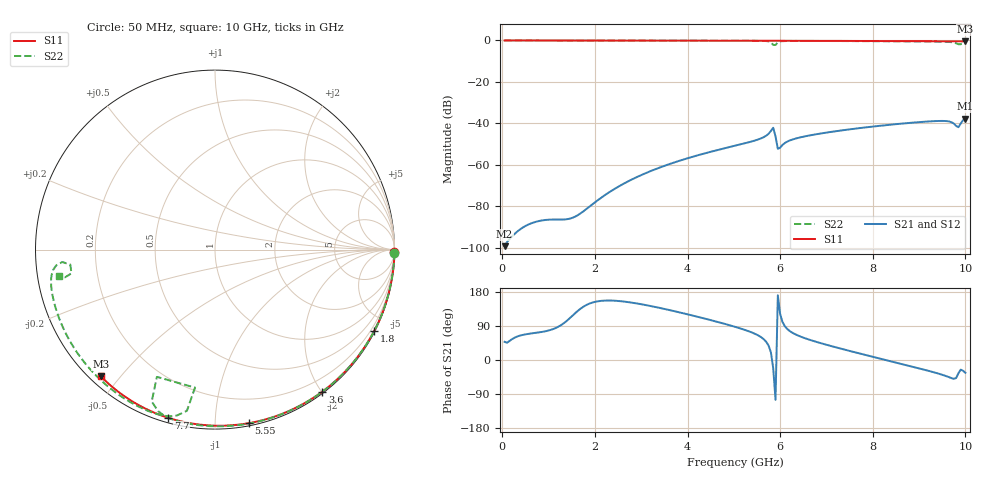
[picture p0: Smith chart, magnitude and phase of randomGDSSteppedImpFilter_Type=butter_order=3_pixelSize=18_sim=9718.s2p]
! freq	dB(S11)	phase(S11)	dB(S12)	phase(S12)
!  dB(S21)	phase(S21)	dB(S22)	phase(S22)
!S-par simulation data
#  GHz  S  DB  R 50
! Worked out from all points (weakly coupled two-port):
!   200 points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, 50 MHz to 10 GHz, reference 50 ohm
!   highest |S21| = -37.71 dB at 10 GHz (marker M1); lowest = -99.2 dB at 50 MHz (marker M2)
!   lowest |S11| = -0.4 dB at 10 GHz (marker M3), VSWR 39.13, Z = 1.53 - j22.2 ohm
!   |S11| at or under -10 dB: nowhere
!   |S22| runs from -2.2 to 0.0 dB; largest |S21 - S12| = 0
!   S11 on the Smith chart (normalised r, x): 50 MHz: open; 1.8 GHz: 0.04, -4.16; 3.6 GHz: 0.02, -2.01; 5.55 GHz: 0.02, -1.21; 7.7 GHz: 0.02, -0.76; 10 GHz: 0.03, -0.44
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0.05  -0.00 -0.8  -99.18 48.0  -99.18 48.0  -0.00 -1.0
1.75  -0.03 -26.3  -82.41 140.5  -82.41 140.5  -0.04 -33.8
1.8  -0.03 -27.1  -81.56 144.1  -81.56 144.1  -0.04 -34.8
1.9  -0.04 -28.5  -79.80 149.7  -79.80 149.7  -0.05 -36.7
2.7  -0.05 -40.2  -68.12 153.1  -68.12 153.1  -0.07 -51.6
3.4  -0.07 -50.1  -61.27 137.4  -61.27 137.4  -0.08 -64.3
3.6  -0.07 -52.9  -59.67 132.1  -59.67 132.1  -0.09 -67.8
5.05  -0.11 -72.5  -50.62 86.7  -50.62 86.7  -0.15 -93.3
5.55  -0.13 -79.0  -47.54 63.2  -47.54 63.2  -0.20 -103.0
5.75  -0.14 -81.6  -44.98 38.0  -44.98 38.0  -0.41 -109.4
5.8  -0.14 -82.2  -43.62 20.4  -43.62 20.4  -0.75 -112.6
5.85  -0.14 -82.9  -42.08 -21.1  -42.08 -21.1  -2.16 -114.5
5.9  -0.15 -83.5  -46.23 -105.2  -46.23 -105.2  -2.19 -98.2
5.95  -0.15 -84.1  -52.27 170.7  -52.27 170.7  -0.80 -99.9
6.2  -0.16 -87.3  -48.29 77.0  -48.29 77.0  -0.25 -109.3
6.7  -0.18 -93.5  -45.53 50.9  -45.53 50.9  -0.25 -118.7
7.7  -0.24 -105.5  -42.30 17.7  -42.30 17.7  -0.32 -135.5
8.35  -0.29 -113.2  -40.68 -2.2  -40.68 -2.2  -0.39 -146.4
9.55  -0.40 -127.0  -38.82 -41.0  -38.82 -41.0  -0.62 -168.7
9.7  -0.41 -128.7  -39.41 -47.9  -39.41 -47.9  -0.83 -172.8
9.85  -0.43 -130.4  -41.83 -34.8  -41.83 -34.8  -1.83 -174.1
10  -0.44 -132.1  -37.71 -33.6  -37.71 -33.6  -1.10 -170.4
